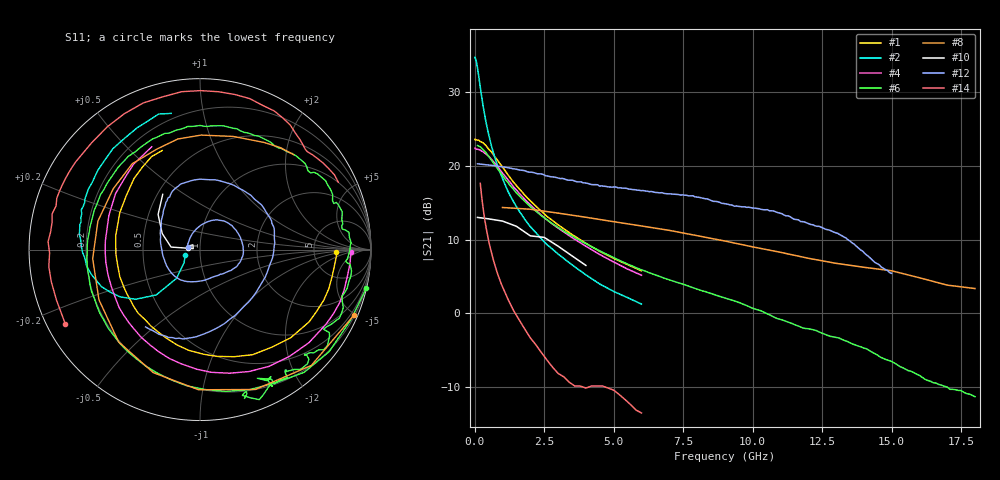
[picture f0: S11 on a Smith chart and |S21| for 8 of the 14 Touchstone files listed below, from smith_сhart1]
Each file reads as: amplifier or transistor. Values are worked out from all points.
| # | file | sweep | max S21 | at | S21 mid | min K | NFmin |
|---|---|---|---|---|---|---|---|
| 1 | 2P3V05M0.S2P | 10 MHz to 6 GHz | 23.6 dB | 10 MHz | 17.8 dB at 1.4 GHz | 0.08 | 0.90 dB |
| 2 | 3P4V060M.S2P | 10 MHz to 6 GHz | 34.8 dB | 10 MHz | 15.1 dB at 1.4 GHz | 0.49 | 1.50 dB |
| 3 | 5P2V05M0.S2P | 10 MHz to 6 GHz | 23.2 dB | 10 MHz | 20.5 dB at 1.4 GHz | 0.03 | 0.89 dB |
| 4 | 6P1V54M0.S2P | 10 MHz to 6 GHz | 22.4 dB | 10 MHz | 17.1 dB at 1.4 GHz | -0.15 | 0.65 dB |
| 5 | 7P1V52M0.S2P | 10 MHz to 6 GHz | 16.4 dB | 10 MHz | 14.4 dB at 1.4 GHz | -0.14 | 0.59 dB |
| 6 | af541432b.s2p | 100 MHz to 18 GHz | 22.8 dB | 100 MHz | 1.9 dB at 9.1 GHz | 0.02 | 0.20 dB |
| 7 | C33V515M.S2P | 1 GHz to 15 GHz | 7.0 dB | 1 GHz | 6.0 dB at 8 GHz | 0.29 | 1.00 dB |
| 8 | CD2V015M.S2P | 1 GHz to 18 GHz | 14.4 dB | 1 GHz | 9.0 dB at 10 GHz | -0.02 | 0.40 dB |
| 9 | gali51.s2p | 100 MHz to 10 GHz | 18.2 dB | 100 MHz | 14.2 dB at 4.2 GHz | 0.64 | - |
| 10 | MAR-3.S2P | 100 MHz to 4 GHz | 13.0 dB | 100 MHz | 10.5 dB at 2 GHz | 1.02 | - |
| 11 | NE52418v1_2-16_2_3.s2p | 2 GHz to 16 GHz | 14.9 dB | 2 GHz | 10.0 dB at 5 GHz | 0.42 | 0.24 dB |
| 12 | Nga589_1.s2p | 100 MHz to 15 GHz | 20.3 dB | 100 MHz | 16.0 dB at 7.55 GHz | 0.71 | - |
| 13 | T415335D.S2P | 100 MHz to 5.1 GHz | 30.0 dB | 100 MHz | 5.2 dB at 2.6 GHz | 0.62 | 1.30 dB |
| 14 | Y45V01A4.S2P | 200 MHz to 6 GHz | 17.6 dB | 200 MHz | -3.3 dB at 2 GHz | 0.72 | - |

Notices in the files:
smith_сhart1/6P1V54M0.S2P:
(c) 1999  Infineon Technologies AG, Munich
